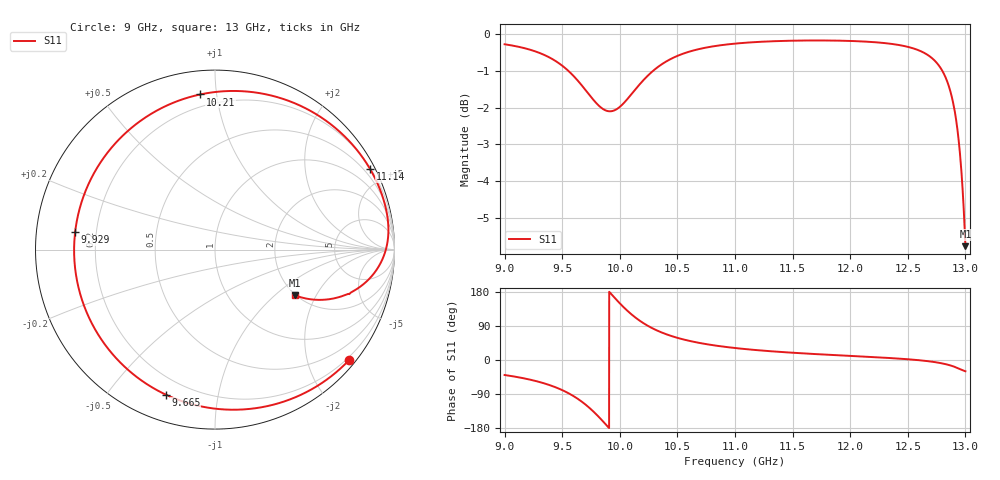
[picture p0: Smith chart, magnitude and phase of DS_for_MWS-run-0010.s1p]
! TOUCHSTONE file generated by CST DESIGN STUDIO
! Date and time: Tue Feb  4 13:02:26 2025
! Project name: C:\Work\MatlabApps\UnitCellOptimizationMatlab\CST\unitcell.cst
! Tree item: Tasks\Sweep1\SPara1\S-Parameters
! Header version: 2024
! Port assignment regex: !\s*Touchstone port\s*([0-9]+)\s*=\s*(CST MWS port|CST DES external port|CST DES block port)\s*(.+)\s* \(\"(.*)\"\)(\s*mode\s*([0-9]+))?.*
! Touchstone port assignment:
! Touchstone port 1 = CST DES external port 1 ("")
# GHz S MA R 50
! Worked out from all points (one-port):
!   4001 points, 9 GHz to 13 GHz, reference 50 ohm
!   lowest |S11| = -5.8 dB at 13 GHz (marker M1), VSWR 3.12, Z = 99.1 - j68.9 ohm
!   |S11| at or under -10 dB: nowhere
!   S11 on the Smith chart (normalised r, x): 9 GHz: 0.14, -2.77; 9.665 GHz: 0.12, -0.71; 9.929 GHz: 0.12, +0.06; 10.21 GHz: 0.13, +0.90; 11.14 GHz: 0.24, +4.09; 13 GHz: 1.98, -1.38
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9  0.9679 -39.6
9.147  0.9583 -47.1
9.281  0.9448 -56.3
9.396  0.9276 -66.8
9.5  0.9053 -79.4
9.59  0.8794 -93.8
9.665  0.8531 -108.8
9.743  0.8236 -128.2
9.82  0.7984 -150.9
9.876  0.7873 -169.2
9.929  0.7853 172.9
10  0.7959 149.5
10.052  0.811 133.8
10.103  0.8288 120.0
10.156  0.8481 107.4
10.214  0.8682 95.5
10.352  0.9066 74.1
10.5  0.9334 58.5
10.716  0.9556 43.7
11  0.9698 31.6
11.14  0.9737 27.4
11.5  0.9787 19.2
12  0.978 10.8
12.5  0.9601 2.0
12.706  0.928 -4.3
12.834  0.8682 -11.4
12.92  0.7634 -19.5
13  0.5151 -29.7
